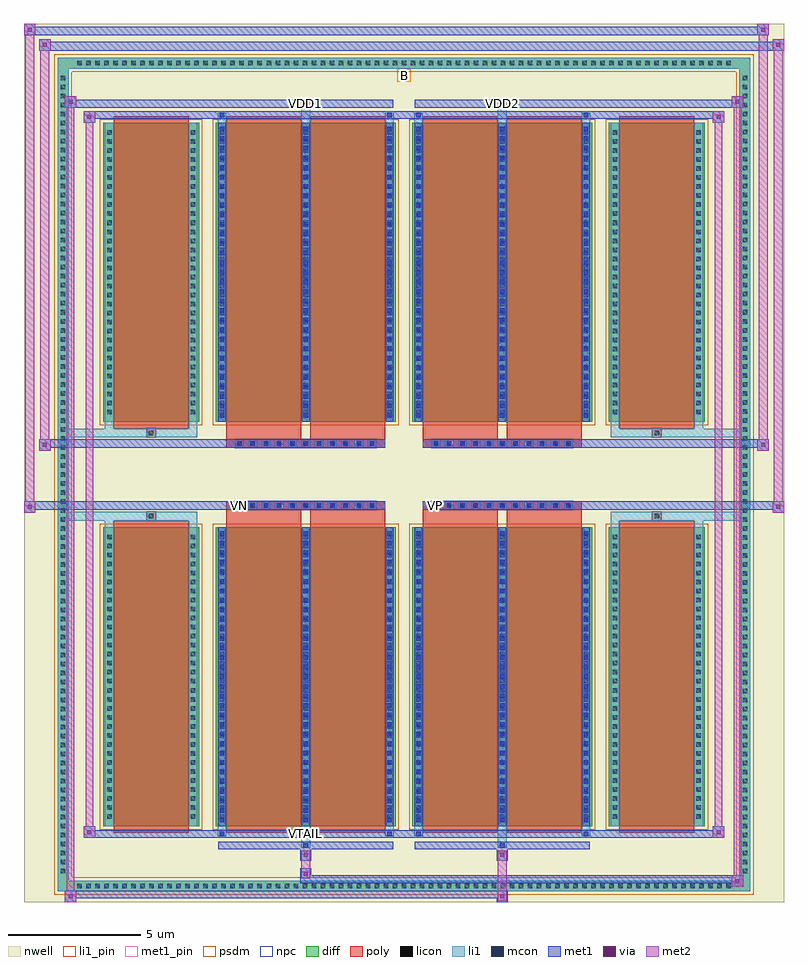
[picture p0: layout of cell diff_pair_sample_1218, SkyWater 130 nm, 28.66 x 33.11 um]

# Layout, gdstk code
import gdstk
lib = gdstk.Library(unit=1e-6, precision=5e-09)
def R(c, l, rs):  # rectangles x0, y0, x1, y1
    for r in rs: c.add(gdstk.rectangle(r[:2], r[2:], *l))
def A(c, l, x, y, w, h, nx, ny, dx, dy):  # array of equal rectangles
    R(c, l, [(x+i*dx, y+j*dy, x+i*dx+w, y+j*dy+h) for i in range(nx) for j in range(ny)])
def P(c, l, *ps):  # polygons
    for p in ps: c.add(gdstk.Polygon(p, *l))
nwell = (64, 20)
diff = (65, 20)
poly = (66, 20)
licon = (66, 44)
li1_pin = (67, 16)
li1 = (67, 20)
mcon = (67, 44)
met1_pin = (68, 16)
met1 = (68, 20)
via = (68, 44)
met2 = (69, 20)
psdm = (94, 20)
npc = (95, 20)

diff_pair_sample_1218 = lib.new_cell('diff_pair_sample_1218')
R(diff_pair_sample_1218, nwell, [(-14.33,-16.12,14.33,16.99), (-11.65,-14.31,-0.01,-0.805), (0.01,-14.31,11.65,-0.805), (-11.65,0.805,-0.01,14.31), (0.01,0.805,11.65,14.31)])
A(diff_pair_sample_1218, diff, -12.445, -15.72, 0.41, 0.41, 73, 2, 0.34, 31.03)
A(diff_pair_sample_1218, diff, -13.06, -15.165, 0.41, 0.41, 1, 89, 0, 0.34)
A(diff_pair_sample_1218, diff, 12.65, -15.165, 0.41, 0.41, 1, 89, 0, 0.34)
R(diff_pair_sample_1218, diff, [(-12.445,-15.72,12.445,-15.31), (-13.06,-15.165,-12.65,15.165), (12.65,-15.165,13.06,15.165), (-11.34,-13.265,-7.73,-1.985), (-7.09,-13.265,-0.32,-1.985), (0.32,-13.265,7.09,-1.985), (7.73,-13.265,11.34,-1.985), (-11.34,1.985,-7.73,13.265), (-7.09,1.985,-0.32,13.265), (0.32,1.985,7.09,13.265), (7.73,1.985,11.34,13.265), (-12.445,15.31,12.445,15.72)])
P(diff_pair_sample_1218, diff, [(13.06,15.72),(-13.06,15.72),(-13.06,-15.31),(-12.65,-15.31),(-12.65,15.31),(12.65,15.31),(12.65,-15.31),(-12.65,-15.31),(-13.06,-15.31),(-13.06,-15.72),(13.06,-15.72)])
A(diff_pair_sample_1218, poly, -6.37, -1.335, 0.33, 0.33, 11, 2, 0.5, 2.34)
A(diff_pair_sample_1218, poly, 1.04, -1.335, 0.33, 0.33, 11, 2, 0.5, 2.34)
R(diff_pair_sample_1218, poly, [(-10.95,-13.515,-8.12,-1.735), (-6.7,-13.515,-3.87,-1.735), (-3.54,-13.515,-0.71,-1.735), (0.71,-13.515,3.54,-1.735), (3.87,-13.515,6.7,-1.735), (8.12,-13.515,10.95,-1.735), (-9.7,-1.735,-9.37,-1.405), (-9.7,-1.735,-9.37,-1.405), (-6.7,-1.735,-3.87,-1.335), (-3.54,-1.735,-0.71,-1.335), (0.71,-1.735,3.54,-1.335), (3.87,-1.735,6.7,-1.335), (9.37,-1.735,9.7,-1.405), (9.37,-1.735,9.7,-1.405), (-6.7,-1.335,-0.71,-1.005), (0.71,-1.335,6.7,-1.005), (-6.7,1.005,-0.71,1.335), (0.71,1.005,6.7,1.335), (-6.7,1.335,-3.87,1.735), (-3.54,1.335,-0.71,1.735), (0.71,1.335,3.54,1.735), (3.87,1.335,6.7,1.735), (-9.7,1.405,-9.37,1.735), (-9.7,1.405,-9.37,1.735), (9.37,1.405,9.7,1.735), (9.37,1.405,9.7,1.735), (-10.95,1.735,-8.12,13.515), (-6.7,1.735,-3.87,13.515), (-3.54,1.735,-0.71,13.515), (0.71,1.735,3.54,13.515), (3.87,1.735,6.7,13.515), (8.12,1.735,10.95,13.515)])
A(diff_pair_sample_1218, licon, -12.325, -15.6, 0.17, 0.17, 73, 2, 0.34, 31.03)
A(diff_pair_sample_1218, licon, -12.94, -15.045, 0.17, 0.17, 1, 89, 0, 0.34)
A(diff_pair_sample_1218, licon, 12.77, -15.045, 0.17, 0.17, 1, 89, 0, 0.34)
A(diff_pair_sample_1218, licon, -11.2, -12.98, 0.17, 0.17, 1, 32, 0, 0.34)
A(diff_pair_sample_1218, licon, -8.04, -12.98, 0.17, 0.17, 1, 32, 0, 0.34)
A(diff_pair_sample_1218, licon, -6.95, -12.98, 0.17, 0.17, 3, 32, 3.16, 0.34)
A(diff_pair_sample_1218, licon, 0.46, -12.98, 0.17, 0.17, 3, 32, 3.16, 0.34)
A(diff_pair_sample_1218, licon, 7.87, -12.98, 0.17, 0.17, 1, 32, 0, 0.34)
A(diff_pair_sample_1218, licon, 11.03, -12.98, 0.17, 0.17, 1, 32, 0, 0.34)
A(diff_pair_sample_1218, licon, -6.29, -1.255, 0.17, 0.17, 11, 2, 0.5, 2.34)
A(diff_pair_sample_1218, licon, 1.12, -1.255, 0.17, 0.17, 11, 2, 0.5, 2.34)
A(diff_pair_sample_1218, licon, -11.2, 2.27, 0.17, 0.17, 1, 32, 0, 0.34)
A(diff_pair_sample_1218, licon, -8.04, 2.27, 0.17, 0.17, 1, 32, 0, 0.34)
A(diff_pair_sample_1218, licon, -6.95, 2.27, 0.17, 0.17, 3, 32, 3.16, 0.34)
A(diff_pair_sample_1218, licon, 0.46, 2.27, 0.17, 0.17, 3, 32, 3.16, 0.34)
A(diff_pair_sample_1218, licon, 7.87, 2.27, 0.17, 0.17, 1, 32, 0, 0.34)
A(diff_pair_sample_1218, licon, 11.03, 2.27, 0.17, 0.17, 1, 32, 0, 0.34)
R(diff_pair_sample_1218, licon, [(-9.62,-1.655,-9.45,-1.485), (9.45,-1.655,9.62,-1.485), (-9.62,1.485,-9.45,1.655), (9.45,1.485,9.62,1.655)])
R(diff_pair_sample_1218, li1_pin, [(-0.25,14.81,0.25,15.31)])
A(diff_pair_sample_1218, li1, -12.405, -15.68, 0.33, 0.33, 73, 2, 0.34, 31.03)
A(diff_pair_sample_1218, li1, -13.02, -15.125, 0.33, 0.33, 1, 89, 0, 0.34)
A(diff_pair_sample_1218, li1, 12.69, -15.125, 0.33, 0.33, 1, 89, 0, 0.34)
A(diff_pair_sample_1218, li1, -7.03, -13.265, 0.33, 11.28, 3, 2, 3.16, 15.25)
A(diff_pair_sample_1218, li1, 0.38, -13.265, 0.33, 11.28, 3, 2, 3.16, 15.25)
A(diff_pair_sample_1218, li1, -6.95, -13.11, 0.17, 0.17, 3, 31, 3.16, 0.36)
A(diff_pair_sample_1218, li1, -6.95, -13.11, 0.17, 10.97, 3, 2, 3.16, 15.25)
A(diff_pair_sample_1218, li1, 0.46, -13.11, 0.17, 0.17, 3, 31, 3.16, 0.36)
A(diff_pair_sample_1218, li1, 0.46, -13.11, 0.17, 10.97, 3, 2, 3.16, 15.25)
A(diff_pair_sample_1218, li1, -11.28, -13.06, 0.33, 0.33, 1, 32, 0, 0.34)
A(diff_pair_sample_1218, li1, -8.12, -13.06, 0.33, 0.33, 1, 32, 0, 0.34)
A(diff_pair_sample_1218, li1, -7.03, -13.06, 0.33, 0.33, 3, 32, 3.16, 0.34)
A(diff_pair_sample_1218, li1, 0.38, -13.06, 0.33, 0.33, 3, 32, 3.16, 0.34)
A(diff_pair_sample_1218, li1, 7.79, -13.06, 0.33, 0.33, 1, 32, 0, 0.34)
A(diff_pair_sample_1218, li1, 10.95, -13.06, 0.33, 0.33, 1, 32, 0, 0.34)
A(diff_pair_sample_1218, li1, -6.37, -1.335, 0.33, 0.33, 11, 2, 0.5, 2.34)
A(diff_pair_sample_1218, li1, 1.04, -1.335, 0.33, 0.33, 11, 2, 0.5, 2.34)
A(diff_pair_sample_1218, li1, -6.95, 2.14, 0.17, 0.17, 3, 31, 3.16, 0.36)
A(diff_pair_sample_1218, li1, 0.46, 2.14, 0.17, 0.17, 3, 31, 3.16, 0.36)
A(diff_pair_sample_1218, li1, -11.28, 2.19, 0.33, 0.33, 1, 32, 0, 0.34)
A(diff_pair_sample_1218, li1, -8.12, 2.19, 0.33, 0.33, 1, 32, 0, 0.34)
A(diff_pair_sample_1218, li1, -7.03, 2.19, 0.33, 0.33, 3, 32, 3.16, 0.34)
A(diff_pair_sample_1218, li1, 0.38, 2.19, 0.33, 0.33, 3, 32, 3.16, 0.34)
A(diff_pair_sample_1218, li1, 7.79, 2.19, 0.33, 0.33, 1, 32, 0, 0.34)
A(diff_pair_sample_1218, li1, 10.95, 2.19, 0.33, 0.33, 1, 32, 0, 0.34)
R(diff_pair_sample_1218, li1, [(-13.06,-15.72,-12.65,-15.31), (-13.06,-15.72,-12.65,-15.31), (-12.65,-15.72,12.65,-15.31), (12.65,-15.72,13.06,-15.31), (12.65,-15.72,13.06,-15.31), (-13.06,-15.31,-12.65,15.31), (12.65,-15.31,13.06,15.31), (-3.87,-14.07,-3.54,-13.265), (-3.79,-14.07,-3.62,-13.9), (3.54,-14.07,3.87,-13.265), (3.62,-14.07,3.79,-13.9), (-7.03,-13.64,-6.7,-13.265), (-6.95,-13.64,-6.78,-13.47), (-0.71,-13.64,-0.38,-13.265), (-0.63,-13.64,-0.46,-13.47), (0.38,-13.64,0.71,-13.265), (0.46,-13.64,0.63,-13.47), (6.7,-13.64,7.03,-13.265), (6.78,-13.64,6.95,-13.47), (-11.28,-13.265,-10.95,-1.985), (-8.12,-13.265,-7.79,-1.985), (7.79,-13.265,8.12,-1.985), (10.95,-13.265,11.28,-1.985), (-11.28,-1.985,-10.95,-1.405), (-8.12,-1.985,-7.79,-1.405), (7.79,-1.985,8.12,-1.405), (10.95,-1.985,11.28,-1.405), (-13.06,-1.735,-9.7,-1.405), (-11.28,-1.735,-9.7,-1.405), (-9.7,-1.735,-9.37,-1.405), (-9.37,-1.735,-7.79,-1.405), (7.79,-1.735,9.37,-1.405), (9.37,-1.735,9.7,-1.405), (9.37,-1.735,13.06,-1.405), (9.7,-1.735,11.28,-1.405), (-13.06,1.405,-9.7,1.735), (-11.28,1.405,-9.7,1.735), (-11.28,1.405,-10.95,1.985), (-9.7,1.405,-9.37,1.735), (-9.37,1.405,-7.79,1.735), (-8.12,1.405,-7.79,1.985), (7.79,1.405,9.37,1.735), (7.79,1.405,8.12,1.985), (9.37,1.405,9.7,1.735), (9.37,1.405,13.06,1.735), (9.7,1.405,11.28,1.735), (10.95,1.405,11.28,1.985), (-11.28,1.985,-10.95,13.265), (-8.12,1.985,-7.79,13.265), (7.79,1.985,8.12,13.265), (10.95,1.985,11.28,13.265), (-7.03,13.265,-6.7,13.64), (-3.87,13.265,-3.54,14.07), (-0.71,13.265,-0.38,13.64), (0.38,13.265,0.71,13.64), (3.54,13.265,3.87,14.07), (6.7,13.265,7.03,13.64), (-6.95,13.47,-6.78,13.64), (-0.63,13.47,-0.46,13.64), (0.46,13.47,0.63,13.64), (6.78,13.47,6.95,13.64), (-3.79,13.9,-3.62,14.07), (3.62,13.9,3.79,14.07), (-13.06,15.31,-12.65,15.72), (-13.06,15.31,-12.65,15.72), (-12.65,15.31,12.65,15.72), (12.65,15.31,13.06,15.72), (12.65,15.31,13.06,15.72)])
A(diff_pair_sample_1218, mcon, -6.95, -13.11, 0.17, 0.17, 3, 31, 3.16, 0.36)
A(diff_pair_sample_1218, mcon, 0.46, -13.11, 0.17, 0.17, 3, 31, 3.16, 0.36)
A(diff_pair_sample_1218, mcon, -6.29, -1.255, 0.17, 0.17, 11, 2, 0.5, 2.34)
A(diff_pair_sample_1218, mcon, 1.12, -1.255, 0.17, 0.17, 11, 2, 0.5, 2.34)
A(diff_pair_sample_1218, mcon, -6.95, 2.14, 0.17, 0.17, 3, 31, 3.16, 0.36)
A(diff_pair_sample_1218, mcon, 0.46, 2.14, 0.17, 0.17, 3, 31, 3.16, 0.36)
R(diff_pair_sample_1218, mcon, [(-3.79,-14.07,-3.62,-13.9), (3.62,-14.07,3.79,-13.9), (-6.95,-13.64,-6.78,-13.47), (-0.63,-13.64,-0.46,-13.47), (0.46,-13.64,0.63,-13.47), (6.78,-13.64,6.95,-13.47), (-6.95,13.47,-6.78,13.64), (-0.63,13.47,-0.46,13.64), (0.46,13.47,0.63,13.64), (6.78,13.47,6.95,13.64), (-3.79,13.9,-3.62,14.07), (3.62,13.9,3.79,14.07)])
R(diff_pair_sample_1218, met1_pin, [(-3.84,-13.68,-3.57,-13.41), (-6.34,-1.295,-6.07,-1.025), (1.07,-1.295,1.34,-1.025), (-3.84,13.86,-3.57,14.13), (3.57,13.86,3.84,14.13)])
A(diff_pair_sample_1218, met1, -7.01, -13.265, 0.29, 11.28, 3, 2, 3.16, 15.25)
A(diff_pair_sample_1218, met1, 0.4, -13.265, 0.29, 11.28, 3, 2, 3.16, 15.25)
A(diff_pair_sample_1218, met1, -7.01, -13.17, 0.29, 0.29, 3, 31, 3.16, 0.36)
A(diff_pair_sample_1218, met1, 0.4, -13.17, 0.29, 0.29, 3, 31, 3.16, 0.36)
A(diff_pair_sample_1218, met1, -6.35, -1.315, 0.29, 0.29, 11, 2, 0.5, 2.34)
A(diff_pair_sample_1218, met1, 1.06, -1.315, 0.29, 0.29, 11, 2, 0.5, 2.34)
A(diff_pair_sample_1218, met1, -7.01, 2.08, 0.29, 0.29, 3, 31, 3.16, 0.36)
A(diff_pair_sample_1218, met1, 0.4, 2.08, 0.29, 0.29, 3, 31, 3.16, 0.36)
R(diff_pair_sample_1218, met1, [(-12.79,-16.12,-12.36,-15.69), (3.49,-16.12,3.92,-15.69), (-12.79,-15.98,3.92,-15.69), (12.36,-15.55,12.79,-15.12), (-3.92,-15.41,12.79,-15.12), (-3.92,-15.27,-3.49,-14.84), (-3.92,-14.56,-3.49,-14.13), (3.49,-14.56,3.92,-14.13), (-7.01,-14.13,-0.4,-13.84), (-3.85,-14.13,-3.56,-13.84), (0.4,-14.13,7.01,-13.84), (3.56,-14.13,3.85,-13.84), (-12.08,-13.7,-11.65,-13.27), (-12.08,-13.7,-7.01,-13.41), (-7.01,-13.7,-6.72,-13.41), (-7.01,-13.7,-0.4,-13.41), (-0.69,-13.7,-0.4,-13.41), (-0.4,-13.7,0.4,-13.41), (0.4,-13.7,0.69,-13.41), (0.4,-13.7,7.01,-13.41), (6.72,-13.7,7.01,-13.41), (7.01,-13.7,12.08,-13.41), (11.65,-13.7,12.08,-13.27), (-14.33,-1.435,-13.9,-1.005), (13.9,-1.435,14.33,-1.005), (-14.33,-1.335,-0.71,-1.005), (-6.7,-1.335,-0.71,-1.005), (0.71,-1.335,6.7,-1.005), (0.71,-1.335,14.33,-1.005), (-13.76,0.905,-13.33,1.335), (13.33,0.905,13.76,1.335), (-13.76,1.005,-6.7,1.335), (-6.7,1.005,-0.71,1.335), (0.71,1.005,6.7,1.335), (6.7,1.005,13.76,1.335), (-12.08,13.27,-11.65,13.7), (11.65,13.27,12.08,13.7), (-12.08,13.41,-7.01,13.7), (-7.01,13.41,-6.72,13.7), (-7.01,13.41,-0.4,13.7), (-0.69,13.41,-0.4,13.7), (-0.4,13.41,0.4,13.7), (0.4,13.41,0.69,13.7), (0.4,13.41,7.01,13.7), (6.72,13.41,7.01,13.7), (7.01,13.41,12.08,13.7), (-12.79,13.84,-12.36,14.27), (-12.79,13.84,-7.01,14.13), (-7.01,13.84,-0.4,14.13), (-3.85,13.84,-3.56,14.13), (0.4,13.84,7.01,14.13), (3.56,13.84,3.85,14.13), (7.01,13.84,12.79,14.13), (12.36,13.84,12.79,14.27), (-13.76,15.99,-13.33,16.42), (-13.76,15.99,-11.65,16.32), (-11.65,15.99,11.65,16.32), (11.65,15.99,14.33,16.32), (13.9,15.99,14.33,16.42), (-14.33,16.56,-13.9,16.99), (-14.33,16.56,-11.65,16.89), (-11.65,16.56,11.65,16.89), (11.65,16.56,13.76,16.89), (13.33,16.56,13.76,16.99)])
R(diff_pair_sample_1218, via, [(-12.65,-15.98,-12.5,-15.83), (3.63,-15.98,3.78,-15.83), (12.5,-15.41,12.65,-15.26), (-3.78,-15.13,-3.63,-14.98), (-3.78,-14.42,-3.63,-14.27), (3.63,-14.42,3.78,-14.27), (-11.94,-13.56,-11.79,-13.41), (11.79,-13.56,11.94,-13.41), (-14.19,-1.295,-14.04,-1.145), (14.04,-1.295,14.19,-1.145), (-13.62,1.045,-13.47,1.195), (13.47,1.045,13.62,1.195), (-11.94,13.41,-11.79,13.56), (11.79,13.41,11.94,13.56), (-12.65,13.98,-12.5,14.13), (12.5,13.98,12.65,14.13), (-13.62,16.13,-13.47,16.28), (14.04,16.13,14.19,16.28), (-14.19,16.7,-14.04,16.85), (13.47,16.7,13.62,16.85)])
R(diff_pair_sample_1218, met2, [(-12.79,-16.12,-12.36,-15.69), (-12.72,-16.12,-12.43,14.27), (-12.43,-16.12,-12.36,-15.69), (-12.74,-16.07,-12.41,-15.74), (3.54,-16.07,3.87,-15.74), (3.54,-15.74,3.87,-14.51), (12.36,-15.55,12.79,-15.12), (12.43,-15.55,12.72,14.27), (12.72,-15.55,12.79,-15.12), (12.41,-15.5,12.74,-15.17), (-3.87,-15.22,-3.54,-14.89), (-3.87,-14.89,-3.54,-14.51), (-3.87,-14.51,-3.54,-14.18), (3.54,-14.51,3.87,-14.18), (-12.08,-13.7,-11.65,-13.27), (-12.01,-13.7,-11.72,13.7), (-11.72,-13.7,-11.65,-13.27), (11.65,-13.7,12.08,-13.27), (11.72,-13.7,12.01,13.7), (12.01,-13.7,12.08,-13.27), (-12.03,-13.65,-11.7,-13.32), (11.7,-13.65,12.03,-13.32), (-14.33,-1.435,-13.9,-1.005), (-14.28,-1.435,-13.95,16.99), (-13.95,-1.435,-13.9,-1.005), (13.9,-1.435,14.33,-1.005), (13.95,-1.435,14.28,16.42), (14.28,-1.435,14.33,-1.005), (-14.28,-1.385,-13.95,-1.055), (13.95,-1.385,14.28,-1.055), (-13.76,0.905,-13.33,1.335), (-13.71,0.905,-13.38,16.42), (-13.38,0.905,-13.33,1.335), (13.33,0.905,13.76,1.335), (13.38,0.905,13.71,16.99), (13.71,0.905,13.76,1.335), (-13.71,0.955,-13.38,1.285), (13.38,0.955,13.71,1.285), (-12.08,13.27,-11.65,13.7), (-11.72,13.27,-11.65,13.7), (11.65,13.27,12.08,13.7), (12.01,13.27,12.08,13.7), (-12.03,13.32,-11.7,13.65), (11.7,13.32,12.03,13.65), (-12.79,13.84,-12.36,14.27), (-12.43,13.84,-12.36,14.27), (12.36,13.84,12.79,14.27), (12.72,13.84,12.79,14.27), (-12.74,13.89,-12.41,14.22), (12.41,13.89,12.74,14.22), (-13.76,15.99,-13.33,16.42), (-13.38,15.99,-13.33,16.42), (13.9,15.99,14.33,16.42), (14.28,15.99,14.33,16.42), (-13.71,16.04,-13.38,16.37), (13.95,16.04,14.28,16.37), (-14.33,16.56,-13.9,16.99), (-13.95,16.56,-13.9,16.99), (13.33,16.56,13.76,16.99), (13.71,16.56,13.76,16.99), (-14.28,16.61,-13.95,16.94), (13.38,16.61,13.71,16.94)])
R(diff_pair_sample_1218, psdm, [(-11.47,-13.395,-7.6,-1.855), (-7.22,-13.395,-0.19,-1.855), (0.19,-13.395,7.22,-1.855), (7.6,-13.395,11.47,-1.855), (-11.47,1.855,-7.6,13.395), (-7.22,1.855,-0.19,13.395), (0.19,1.855,7.22,13.395), (7.6,1.855,11.47,13.395)])
P(diff_pair_sample_1218, psdm, [(13.19,15.85),(-13.19,15.85),(-13.19,-15.18),(-12.52,-15.18),(-12.52,15.18),(12.52,15.18),(12.52,-15.18),(-12.52,-15.18),(-13.19,-15.18),(-13.19,-15.85),(13.19,-15.85)])
A(diff_pair_sample_1218, npc, -6.39, -1.355, 0.37, 0.37, 11, 2, 0.5, 2.34)
A(diff_pair_sample_1218, npc, 1.02, -1.355, 0.37, 0.37, 11, 2, 0.5, 2.34)
R(diff_pair_sample_1218, npc, [(-9.72,-1.755,-9.35,-1.385), (9.35,-1.755,9.72,-1.385), (-6.39,-1.355,-5.52,-0.985), (-6.39,-1.355,-5.52,-0.985), (-5.89,-1.355,-5.02,-0.985), (-5.89,-1.355,-5.02,-0.985), (-5.39,-1.355,-4.52,-0.985), (-5.39,-1.355,-4.52,-0.985), (-4.89,-1.355,-4.02,-0.985), (-4.89,-1.355,-4.02,-0.985), (-4.39,-1.355,-3.52,-0.985), (-4.39,-1.355,-3.52,-0.985), (-3.89,-1.355,-3.02,-0.985), (-3.89,-1.355,-3.02,-0.985), (-3.39,-1.355,-2.52,-0.985), (-3.39,-1.355,-2.52,-0.985), (-2.89,-1.355,-2.02,-0.985), (-2.89,-1.355,-2.02,-0.985), (-2.39,-1.355,-1.52,-0.985), (-2.39,-1.355,-1.52,-0.985), (-1.89,-1.355,-1.02,-0.985), (-1.89,-1.355,-1.02,-0.985), (1.02,-1.355,1.89,-0.985), (1.02,-1.355,1.89,-0.985), (1.52,-1.355,2.39,-0.985), (1.52,-1.355,2.39,-0.985), (2.02,-1.355,2.89,-0.985), (2.02,-1.355,2.89,-0.985), (2.52,-1.355,3.39,-0.985), (2.52,-1.355,3.39,-0.985), (3.02,-1.355,3.89,-0.985), (3.02,-1.355,3.89,-0.985), (3.52,-1.355,4.39,-0.985), (3.52,-1.355,4.39,-0.985), (4.02,-1.355,4.89,-0.985), (4.02,-1.355,4.89,-0.985), (4.52,-1.355,5.39,-0.985), (4.52,-1.355,5.39,-0.985), (5.02,-1.355,5.89,-0.985), (5.02,-1.355,5.89,-0.985), (5.52,-1.355,6.39,-0.985), (5.52,-1.355,6.39,-0.985), (-6.39,0.985,-5.52,1.355), (-6.39,0.985,-5.52,1.355), (-5.89,0.985,-5.02,1.355), (-5.89,0.985,-5.02,1.355), (-5.39,0.985,-4.52,1.355), (-5.39,0.985,-4.52,1.355), (-4.89,0.985,-4.02,1.355), (-4.89,0.985,-4.02,1.355), (-4.39,0.985,-3.52,1.355), (-4.39,0.985,-3.52,1.355), (-3.89,0.985,-3.02,1.355), (-3.89,0.985,-3.02,1.355), (-3.39,0.985,-2.52,1.355), (-3.39,0.985,-2.52,1.355), (-2.89,0.985,-2.02,1.355), (-2.89,0.985,-2.02,1.355), (-2.39,0.985,-1.52,1.355), (-2.39,0.985,-1.52,1.355), (-1.89,0.985,-1.02,1.355), (-1.89,0.985,-1.02,1.355), (1.02,0.985,1.89,1.355), (1.02,0.985,1.89,1.355), (1.52,0.985,2.39,1.355), (1.52,0.985,2.39,1.355), (2.02,0.985,2.89,1.355), (2.02,0.985,2.89,1.355), (2.52,0.985,3.39,1.355), (2.52,0.985,3.39,1.355), (3.02,0.985,3.89,1.355), (3.02,0.985,3.89,1.355), (3.52,0.985,4.39,1.355), (3.52,0.985,4.39,1.355), (4.02,0.985,4.89,1.355), (4.02,0.985,4.89,1.355), (4.52,0.985,5.39,1.355), (4.52,0.985,5.39,1.355), (5.02,0.985,5.89,1.355), (5.02,0.985,5.89,1.355), (5.52,0.985,6.39,1.355), (5.52,0.985,6.39,1.355), (-9.72,1.385,-9.35,1.755), (9.35,1.385,9.72,1.755)])
diff_pair_sample_1218.add(gdstk.Label('VTAIL', (-3.705,-13.545), layer=68, texttype=5))
diff_pair_sample_1218.add(gdstk.Label('VN', (-6.205,-1.16), layer=68, texttype=5))
diff_pair_sample_1218.add(gdstk.Label('VP', (1.205,-1.16), layer=68, texttype=5))
diff_pair_sample_1218.add(gdstk.Label('B', (0,15.06), layer=67, texttype=5))
diff_pair_sample_1218.add(gdstk.Label('VDD2', (3.705,13.995), layer=68, texttype=5))
diff_pair_sample_1218.add(gdstk.Label('VDD1', (-3.705,13.995), layer=68, texttype=5))

lib.write_gds('diff_pair_sample_1218.gds')
